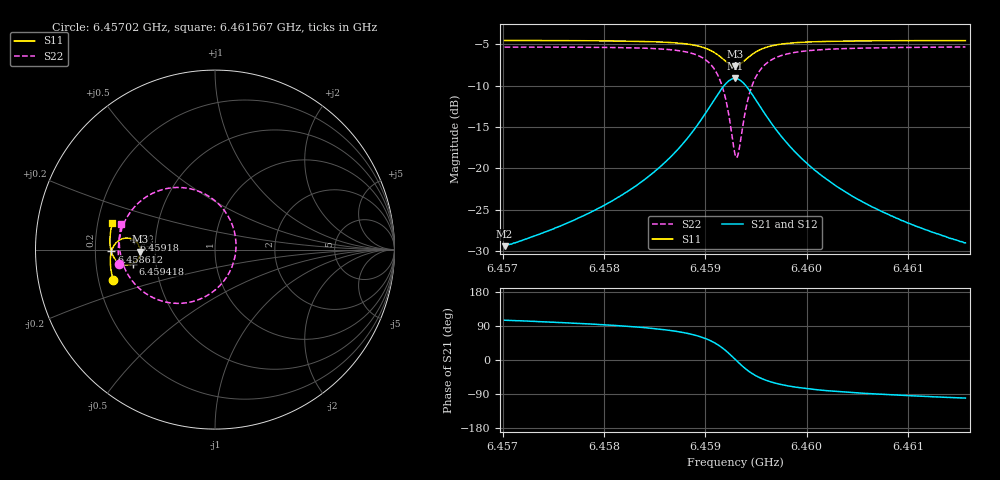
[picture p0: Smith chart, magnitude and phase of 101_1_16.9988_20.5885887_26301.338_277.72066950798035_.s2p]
#  HZ  S  RI  R  50.00
! Rohde & Schwarz Vector Network Analyzer
! Rohde-Schwarz,ZNB20-2Port,1311601062101988,3.16
! Created: UTC 3/20/2024, 10:56:37 PM
! freq[Hz]  re:S11  im:S11  re:S21  im:S21  re:S12  im:S12  re:S22  im:S22
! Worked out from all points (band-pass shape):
!   401 points, 6.45702 GHz to 6.461567 GHz, reference 50 ohm
!   highest |S21| = -9.14 dB at 6.459293 GHz (marker M1); lowest = -29.4 dB at 6.45702 GHz (marker M2)
!   |S21| within 3 dB of the highest: 6.459066 GHz to 6.459521 GHz (454.6 kHz wide, 0.00704 % of centre)
!   lowest |S11| = -7.6 dB at 6.459293 GHz (marker M3), VSWR 2.42, Z = 20.6 - j0.537 ohm
!   |S11| at or under -10 dB: nowhere
!   |S22| runs from -18.7 to -5.3 dB; largest |S21 - S12| = 0.014
!   S11 on the Smith chart (normalised r, x): 6.45702 GHz: 0.26, -0.14; 6.458612 GHz: 0.27, -0.01; 6.45918 GHz: 0.38, +0.05; 6.459418 GHz: 0.37, -0.07; 6.461567 GHz: 0.26, +0.12
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6.4570204e9  -0.5669 -0.17  -0.0088 0.0328  -0.00706 0.0328  -0.5338 -0.0802
6.4577819e9  -0.5807 -0.1033  -0.00547 0.0511  -0.00294 0.0504  -0.5384 0.00941
6.4582024e9  -0.5834 -0.061  0.000677 0.0708  0.00389 0.0693  -0.5297 0.0768
6.4585434e9  -0.5795 -0.0198  0.0147 0.0998  0.0187 0.097  -0.5037 0.1545
6.4586116e9  -0.5772 -0.0103  0.0202 0.1082  0.0243 0.105  -0.4935 0.1746
6.4588048e9  -0.5644 0.0202  0.047 0.1395  0.0511 0.1344  -0.443 0.2439
6.4589525e9  -0.5414 0.0466  0.0931 0.1701  0.0961 0.1635  -0.3585 0.3083
6.4590889e9  -0.4969 0.064  0.1813 0.1866  0.182 0.1792  -0.1974 0.3461
6.4591798e9  -0.4517 0.0534  0.2719 0.1546  0.2722 0.1489  -0.0298 0.2939
6.459248e9  -0.4222 0.0208  0.3328 0.0815  0.3351 0.0764  0.0858 0.1624
6.4592935e9  -0.4154 -0.0108  0.349 0.0129  0.3527 0.00605  0.1171 0.0341
6.4593048e9  -0.4159 -0.0189  0.3486 -0.00507  0.3526 -0.0126  0.1165 8.23e-05
6.4593276e9  -0.4195 -0.0348  0.3428 -0.0401  0.3468 -0.0491  0.1048 -0.0662
6.459373e9  -0.4354 -0.0612  0.3138 -0.1004  0.316 -0.1123  0.0456 -0.1796
6.4594185e9  -0.4576 -0.0778  0.2711 -0.1416  0.2703 -0.1549  -0.0407 -0.2544
6.4595094e9  -0.5016 -0.0848  0.1854 -0.1725  0.1792 -0.1841  -0.2109 -0.2996
6.4596572e9  -0.546 -0.0643  0.0969 -0.1584  0.0884 -0.1645  -0.379 -0.2489
6.4598163e9  -0.5677 -0.0367  0.0517 -0.13  0.044 -0.1327  -0.4596 -0.1761
6.460055e9  -0.5807 -0.00111  0.0223 -0.0982  0.0166 -0.0987  -0.5075 -0.0933
6.4603959e9  -0.5853 0.0396  0.00629 -0.0711  0.0022 -0.0706  -0.529 -0.014
6.4608164e9  -0.5837 0.0821  -0.00151 -0.0525  -0.00421 -0.0515  -0.5331 0.0538
6.4615665e9  -0.572 0.1488  -0.00642 -0.035  -0.00825 -0.034  -0.5218 0.1431
